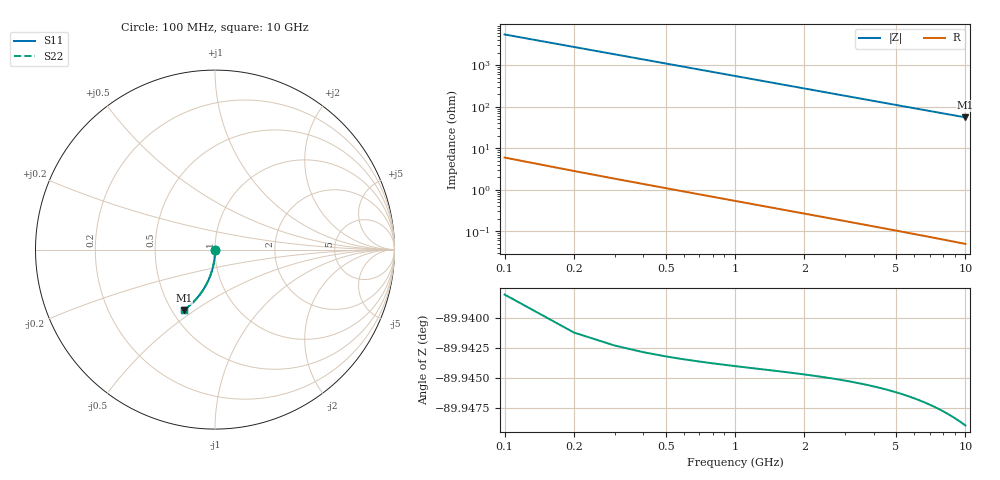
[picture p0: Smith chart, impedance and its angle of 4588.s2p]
# Hz S RI R 50.00
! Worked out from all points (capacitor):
!   100 points, 100 MHz to 10 GHz, reference 50 ohm
!   read as one part in shunt: C = 290 fF near 100 MHz
!   lowest |Z| = 55.2 ohm at 10 GHz (marker M1)
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1e8  0.000172 -0.00413  0.9998 -0.00499  0.9998 -0.00499  0.000172 -0.00413
2e8  0.000107 -0.00826  0.9997 -0.00998  0.9997 -0.00998  0.000107 -0.00826
3e8  4.87e-07 -0.0124  0.9996 -0.015  0.9996 -0.015  4.87e-07 -0.0124
4e8  -0.000147 -0.0165  0.9994 -0.02  0.9994 -0.02  -0.000147 -0.0165
5e8  -0.000337 -0.0207  0.9993 -0.0249  0.9993 -0.0249  -0.000337 -0.0207
6e8  -0.000567 -0.0248  0.999 -0.0299  0.999 -0.0299  -0.000567 -0.0248
7e8  -0.000839 -0.0289  0.9987 -0.0349  0.9987 -0.0349  -0.000839 -0.0289
8e8  -0.00115 -0.033  0.9984 -0.0399  0.9984 -0.0399  -0.00115 -0.033
9e8  -0.00151 -0.0371  0.9981 -0.0448  0.9981 -0.0448  -0.00151 -0.0371
1.1e9  -0.00234 -0.0453  0.9972 -0.0548  0.9972 -0.0548  -0.00234 -0.0453
1.4e9  -0.00389 -0.0576  0.9956 -0.0696  0.9956 -0.0696  -0.00389 -0.0576
1.8e9  -0.00652 -0.0739  0.9929 -0.0893  0.9929 -0.0893  -0.00652 -0.0739
2.1e9  -0.00891 -0.086  0.9905 -0.104  0.9905 -0.104  -0.00891 -0.086
2.5e9  -0.0127 -0.102  0.9867 -0.1234  0.9867 -0.1234  -0.0127 -0.102
2.9e9  -0.017 -0.1177  0.9823 -0.1426  0.9823 -0.1426  -0.017 -0.1177
3.4e9  -0.0233 -0.1371  0.9758 -0.1663  0.9758 -0.1663  -0.0233 -0.1371
4.2e9  -0.0352 -0.1672  0.9637 -0.2033  0.9637 -0.2033  -0.0352 -0.1672
5.1e9  -0.0513 -0.1995  0.9473 -0.2434  0.9473 -0.2434  -0.0513 -0.1995
5.9e9  -0.0676 -0.2266  0.9307 -0.2774  0.9307 -0.2774  -0.0676 -0.2266
6.7e9  -0.0857 -0.252  0.9122 -0.3098  0.9122 -0.3098  -0.0857 -0.252
8.4e9  -0.1289 -0.3  0.868 -0.3726  0.868 -0.3726  -0.1289 -0.3
1e10  -0.1741 -0.3371  0.8217 -0.4239  0.8217 -0.4239  -0.1741 -0.3371
